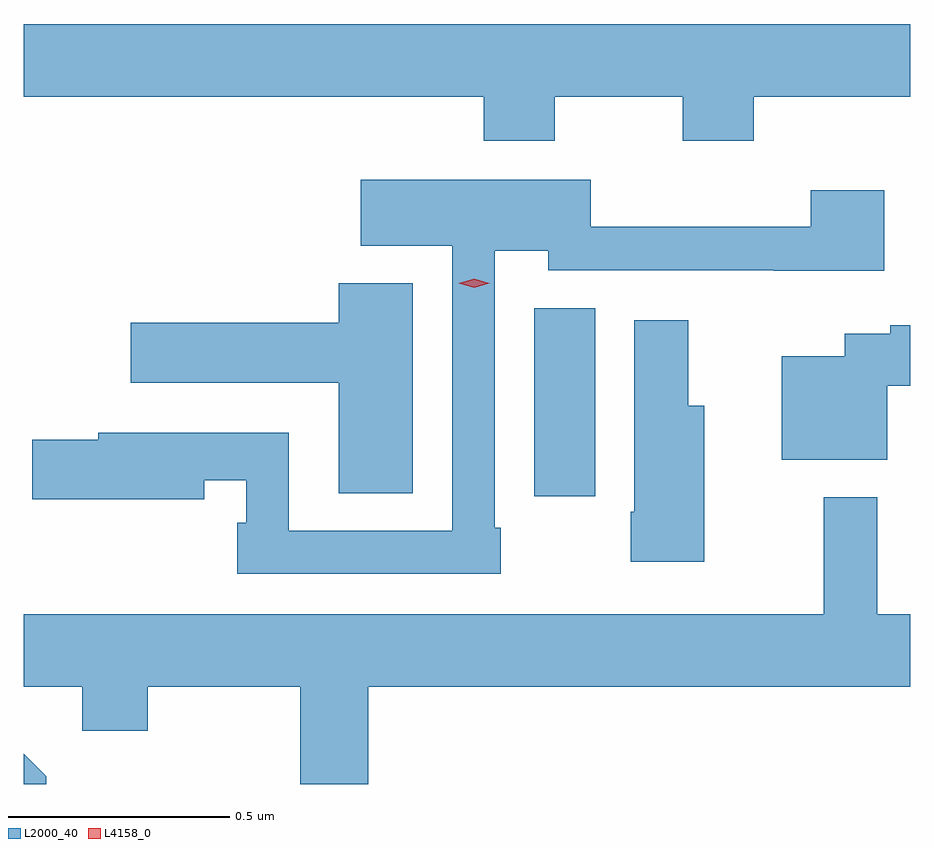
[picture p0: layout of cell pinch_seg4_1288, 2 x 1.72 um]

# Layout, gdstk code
import gdstk
lib = gdstk.Library(unit=1e-6, precision=1e-09)
def R(c, l, rs):  # rectangles x0, y0, x1, y1
    for r in rs: c.add(gdstk.rectangle(r[:2], r[2:], *l))
def P(c, l, *ps):  # polygons
    for p in ps: c.add(gdstk.Polygon(p, *l))
L2000_40 = (2000, 40)
L4158_0 = (4158, 0)

pinch_seg4_1288 = lib.new_cell('pinch_seg4_1288')
R(pinch_seg4_1288, L2000_40, [(266.591,759.954,266.728,760.379)])
P(pinch_seg4_1288, L2000_40, [(266.637,760.856),(266.926,760.856),(266.926,760.757),(267.086,760.757),(267.086,760.856),(267.439,760.856),(267.439,761.02),(265.439,761.02),(265.439,760.856),(266.477,760.856),(266.477,760.757),(266.637,760.757)],
  [(266.515,759.883),(266.502,759.883),(266.502,760.508),(266.622,760.508),(266.622,760.464),(267.131,760.464),(267.131,760.463),(267.38,760.463),(267.38,760.645),(267.215,760.645),(267.215,760.562),(266.718,760.562),(266.718,760.669),(266.199,760.669),(266.199,760.52),(266.406,760.52),(266.406,759.876),(266.037,759.876),(266.037,760.098),(265.607,760.098),(265.607,760.082),(265.458,760.082),(265.458,759.947),(265.846,759.947),(265.846,759.99),(265.941,759.99),(265.941,759.894),(265.921,759.894),(265.921,759.78),(266.515,759.78)],
  [(266.317,760.435),(266.15,760.435),(266.15,760.346),(265.68,760.346),(265.68,760.211),(266.15,760.211),(266.15,759.961),(266.317,759.961)],
  [(266.974,760.159),(266.938,760.159),(266.938,760.351),(266.816,760.351),(266.816,759.919),(266.809,759.919),(266.809,759.807),(266.974,759.807)],
  [(267.387,760.204),(267.439,760.204),(267.439,760.34),(267.394,760.34),(267.394,760.321),(267.291,760.321),(267.291,760.27),(267.149,760.27),(267.149,760.037),(267.387,760.037)],
  [(266.216,759.524),(267.439,759.524),(267.439,759.688),(267.365,759.688),(267.365,759.952),(267.244,759.952),(267.244,759.688),(265.439,759.688),(265.439,759.524),(265.571,759.524),(265.571,759.425),(265.719,759.425),(265.719,759.524),(266.063,759.524),(266.063,759.305),(266.216,759.305)],
  [(265.489,759.323),(265.439,759.373),(265.439,759.305),(265.489,759.305)])
P(pinch_seg4_1288, L4158_0, [(266.455,760.425),(266.42,760.435),(266.42,760.435),(266.42,760.435),(266.455,760.445),(266.489,760.435),(266.49,760.435),(266.489,760.435)])

lib.write_gds('pinch_seg4_1288.gds')
